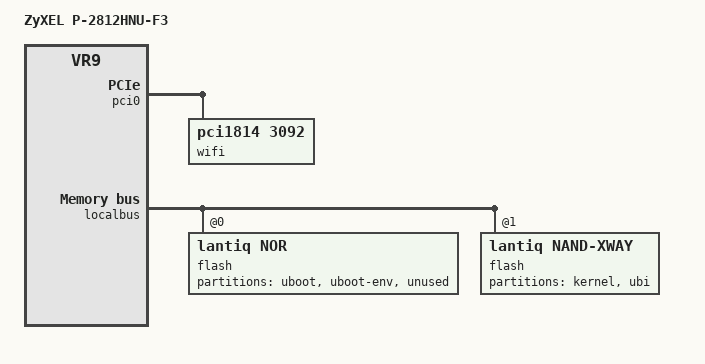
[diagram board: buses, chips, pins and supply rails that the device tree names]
/dts-v1/;

#include "P2812HNUFX.dtsi"

/ {
	compatible = "zyxel,p-2812hnu-f3", "zyxel,p-2812hnu", "lantiq,xway", "lantiq,vr9";
	model = "ZyXEL P-2812HNU-F3";
};

&pci0 {
	wifi@1814,3092 {
		compatible = "pci1814,3092";
		reg = <0x7000 0 0 0 0>;
		ralink,eeprom = "RT3092.eeprom";
	};
};

&localbus {
	flash@0 {
		compatible = "lantiq,nor";
		bank-width = <2>;
		reg = <0 0x0 0x800000>;

		partitions {
			compatible = "fixed-partitions";
			#address-cells = <1>;
			#size-cells = <1>;

			partition@0 {
				label = "uboot";
				reg = <0x0 0x50000>;
				read-only;
			};
			partition@50000 {
				label = "uboot-env";
				reg = <0x50000 0x10000>;
			};
			partition@60000 {
				label = "unused";
				reg = <0x60000 0x7a0000>;
			};
		};
	};

	flash@1 {
		compatible = "lantiq,nand-xway";
		lantiq,cs = <1>;
		bank-width = <2>;
		reg = <1 0x0 0x2000000>;
		#address-cells = <1>;
		#size-cells = <1>;

		partition@0 {
			label = "kernel";
			reg = <0x0 0x200000>;
		};
		partition@200000 {
			label = "ubi";
			reg = <0x200000 0x7e00000>;
		};
	};
};
